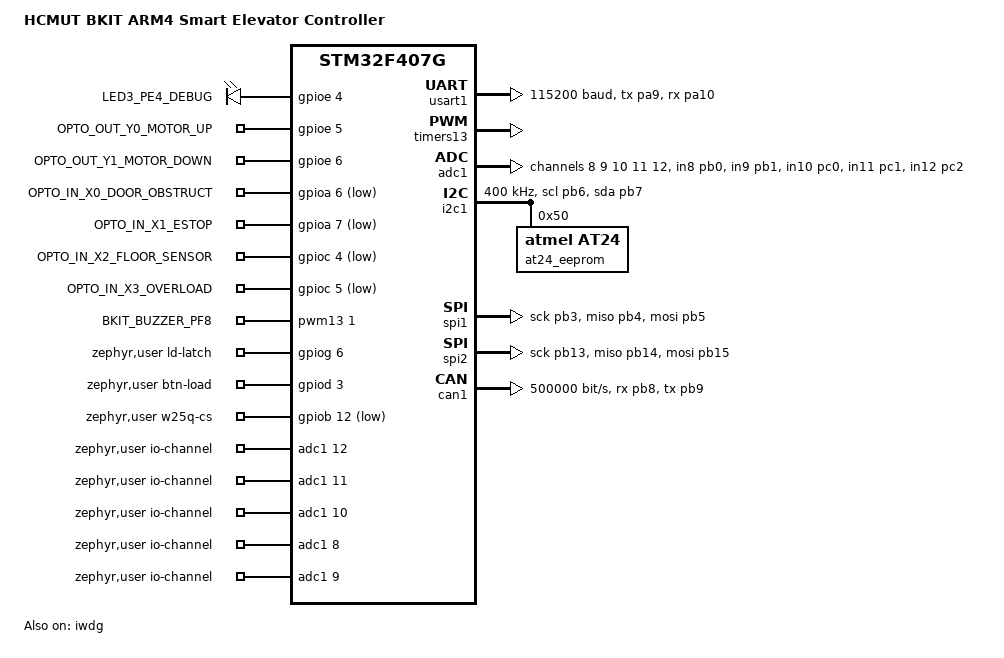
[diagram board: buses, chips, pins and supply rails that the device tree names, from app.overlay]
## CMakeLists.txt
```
# SPDX-License-Identifier: Apache-2.0
cmake_minimum_required(VERSION 3.20.0)

find_package(Zephyr REQUIRED HINTS $ENV{ZEPHYR_BASE})
project(smart_elevator_bkit_arm4 LANGUAGES C)

target_include_directories(app PRIVATE
    ${CMAKE_CURRENT_SOURCE_DIR}/include
)

target_sources(app PRIVATE
    src/main.c

    # Board Support Package (Per-peripheral BKIT ARM4 drivers)
    src/bsp/bsp_gpio_exti.c
    src/bsp/bsp_pwm_buzzer.c
    src/bsp/bsp_adc_sensors.c
    src/bsp/bsp_spi_hmi.c
    src/bsp/bsp_i2c_storage.c
    src/bsp/bsp_watchdog.c
    src/bsp/bsp_tft_lcd.c

    # Core Safety Control & Scheduling Logic
    src/core/elevator_scheduler.c
    src/core/elevator_hsm.c

    # Distributed Communications & HIL Digital Twin Stream
    src/comms/can_bus.c
    src/comms/twin_telemetry.c

    # Interactive Zephyr Shell Commands
    src/cli/cli_elev.c
    src/cli/cli_bkit_test.c
)
```

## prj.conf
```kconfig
# ==============================================================================
# BKIT ARM4 (STM32F407ZGT6 on stm32f4_disco base) - Smart Elevator Firmware
# Zephyr RTOS v4.4.0
# ==============================================================================

# --- Core Kernel, Static Multithreading & Priority Inheritance ---
CONFIG_MAIN_STACK_SIZE=2048
CONFIG_SYSTEM_WORKQUEUE_STACK_SIZE=2048
CONFIG_THREAD_NAME=y
CONFIG_THREAD_MONITOR=y
CONFIG_INIT_STACKS=y
CONFIG_THREAD_STACK_INFO=y
CONFIG_THREAD_RUNTIME_STATS=y
CONFIG_THREAD_ANALYZER=y
CONFIG_THREAD_ANALYZER_USE_PRINTK=y
CONFIG_TIMING_FUNCTIONS=y
CONFIG_REBOOT=y

# --- Serial Console & Interactive Shell over USART1 (PA9/PA10 RS232) ---
CONFIG_SERIAL=y
CONFIG_CONSOLE=y
CONFIG_UART_CONSOLE=y
CONFIG_PRINTK=y
CONFIG_CBPRINTF_FP_SUPPORT=y
CONFIG_SHELL=y
CONFIG_SHELL_BACKEND_SERIAL=y
CONFIG_SHELL_PROMPT_UART="bkit-elev:~$ "
CONFIG_SHELL_STACK_SIZE=3072
CONFIG_KERNEL_SHELL=y
CONFIG_DEVICE_SHELL=y
CONFIG_STATS=y
CONFIG_STATS_SHELL=y

# --- Logging (kept lean so RS232 shell + $TWIN packets stay clean) ---
CONFIG_LOG=y
CONFIG_LOG_MODE_DEFERRED=y
CONFIG_LOG_DEFAULT_LEVEL=3
CONFIG_LOG_CMDS=y

# --- Onboard Hardware Peripherals ---
# GPIO (LED3 PE4, Y0/Y1 PE5/PE6, Opto X0..X3 PA6/PA7/PC4/PC5, SPI latches PD3/PG6)
CONFIG_GPIO=y

# PWM Buzzer (PF8 TIM13_CH1)
CONFIG_PWM=y

# ADC1 (PC2 LM35, PC1 Potentiometer, PC0 Light, PB0 Voltage, PB1 Current)
CONFIG_ADC=y

# Shared SPI1 (PB3/4/5 -> 74HC595 Display + Keypad) & SPI2 (PB12..15 -> W25Q64)
CONFIG_SPI=y

# Shared I2C1 (PB6/PB7 -> DS3231 RTC via I2C regs + AT24C512 EEPROM driver)
CONFIG_I2C=y
CONFIG_EEPROM=y

# CAN1 (PB8/PB9 -> TJA1050 500 kbps), RTR support & EEPROM Integrity CRC
CONFIG_CAN=y
CONFIG_CAN_INIT_PRIORITY=80
CONFIG_CAN_MANUAL_RECOVERY_MODE=y
CONFIG_CAN_ACCEPT_RTR=y
CONFIG_CRC=y

# Independent Watchdog (IWDG) & Hardware Info (Reset cause / MCU UID)
CONFIG_WATCHDOG=y
CONFIG_WDT_DISABLE_AT_BOOT=n
CONFIG_HWINFO=y

# Output artifacts
CONFIG_BUILD_OUTPUT_HEX=y
CONFIG_BUILD_OUTPUT_BIN=y
```

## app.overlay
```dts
/*
 * Devicetree Overlay for HCMUT BKIT ARM4 (STM32F407ZGT6)
 * Base board target: stm32f4_disco
 * Pinout verified strictly against KitThiNghiem_STM32_ARM4_QuickStartGuide_20231027_1027.pdf
 */

#include <zephyr/dt-bindings/adc/adc.h>
#include <zephyr/dt-bindings/pwm/pwm.h>
#include <zephyr/dt-bindings/pinctrl/stm32-pinctrl.h>

/ {
	model = "HCMUT BKIT ARM4 Smart Elevator Controller";
	compatible = "st,stm32f407g-disc1";

	chosen {
		zephyr,console = &usart1;
		zephyr,shell-uart = &usart1;
		zephyr,canbus = &can1;
	};

	aliases {
		/delete-property/ led3;
		led0 = &bkit_led_debug;
		led1 = &bkit_out_y0;
		led2 = &bkit_out_y1;
		sw0 = &bkit_in_x0;
		sw1 = &bkit_in_x1;
		sw2 = &bkit_in_x2;
		sw3 = &bkit_in_x3;
		watchdog0 = &iwdg;
		eeprom-0 = &at24_eeprom;
		pwm-buzzer = &bkit_buzzer;
	};

	bkit_outputs {
		compatible = "gpio-leds";

		bkit_led_debug: led_pe4 {
			gpios = <&gpioe 4 GPIO_ACTIVE_HIGH>;
			label = "LED3_PE4_DEBUG";
		};

		bkit_out_y0: out_y0_pe5 {
			gpios = <&gpioe 5 GPIO_ACTIVE_HIGH>;
			label = "OPTO_OUT_Y0_MOTOR_UP";
		};

		bkit_out_y1: out_y1_pe6 {
			gpios = <&gpioe 6 GPIO_ACTIVE_HIGH>;
			label = "OPTO_OUT_Y1_MOTOR_DOWN";
		};
	};

	bkit_inputs {
		compatible = "gpio-keys";

		bkit_in_x0: in_x0_pa6 {
			gpios = <&gpioa 6 (GPIO_PULL_UP | GPIO_ACTIVE_LOW)>;
			label = "OPTO_IN_X0_DOOR_OBSTRUCT";
		};

		bkit_in_x1: in_x1_pa7 {
			gpios = <&gpioa 7 (GPIO_PULL_UP | GPIO_ACTIVE_LOW)>;
			label = "OPTO_IN_X1_ESTOP";
		};

		bkit_in_x2: in_x2_pc4 {
			gpios = <&gpioc 4 (GPIO_PULL_UP | GPIO_ACTIVE_LOW)>;
			label = "OPTO_IN_X2_FLOOR_SENSOR";
		};

		bkit_in_x3: in_x3_pc5 {
			gpios = <&gpioc 5 (GPIO_PULL_UP | GPIO_ACTIVE_LOW)>;
			label = "OPTO_IN_X3_OVERLOAD";
		};
	};

	bkit_pwmleds {
		status = "okay";
		compatible = "pwm-leds";

		bkit_buzzer: buzzer_pf8 {
			pwms = <&pwm13 1 PWM_HZ(2000) PWM_POLARITY_NORMAL>;
			label = "BKIT_BUZZER_PF8";
		};
	};

	/* Disable conflicting stm32f4_disco board-level LEDs & user button */
	leds {
		status = "disabled";
	};

	gpio_keys {
		status = "disabled";
	};

	zephyr,user {
		io-channels = <&adc1 12>, /* PC2: LM35 temperature sensor */
			      <&adc1 11>, /* PC1: Potentiometer (load/temp sim) */
			      <&adc1 10>, /* PC0: Light sensor */
			      <&adc1 8>,  /* PB0: Bus voltage monitor */
			      <&adc1 9>;  /* PB1: Motor current monitor */
		ld-latch-gpios = <&gpiog 6 GPIO_ACTIVE_HIGH>;
		btn-load-gpios = <&gpiod 3 GPIO_ACTIVE_HIGH>;
		w25q-cs-gpios  = <&gpiob 12 GPIO_ACTIVE_LOW>;
	};
};

/* --- Disable conflicting stm32f4_disco onboard devices --- */
&pwmleds {
	status = "disabled";
};

&usart2 {
	status = "disabled";
};

&can2 {
	status = "disabled";
};

&i2s3 {
	status = "disabled";
};

&usbotg_fs {
	status = "disabled";
};

&timers2 {
	status = "disabled";
};

&timers4 {
	status = "disabled";
};

/* --- Enable GPIO ports F & G used on STM32F407ZGT6 LQFP144 --- */
&gpiof {
	status = "okay";
};

&gpiog {
	status = "okay";
};

/* --- Add PF8 TIM13_CH1 pinctrl missing from LQFP100 discovery base --- */
&pinctrl {
	tim13_ch1_pf8: tim13_ch1_pf8 {
		pinmux = <STM32_PINMUX('F', 8, AF9)>;
	};
};

/* --- RS232 DB9 Shell & Digital Twin Telemetry (PA9/PA10) --- */
&usart1 {
	pinctrl-0 = <&usart1_tx_pa9 &usart1_rx_pa10>;
	pinctrl-names = "default";
	current-speed = <115200>;
	status = "okay";
};

/* --- Buzzer PWM (PF8 -> TIM13_CH1) --- */
&timers13 {
	status = "okay";
	st,prescaler = <83>;

	pwm13: pwm {
		status = "okay";
		pinctrl-0 = <&tim13_ch1_pf8>;
		pinctrl-names = "default";
	};
};

/* --- ADC1 Sensors (override PA6 away from stm32f4_disco default!) --- */
&adc1 {
	pinctrl-0 = <&adc1_in8_pb0 &adc1_in9_pb1
		     &adc1_in10_pc0 &adc1_in11_pc1 &adc1_in12_pc2>;
	pinctrl-names = "default";
	st,adc-clock-source = "SYNC";
	st,adc-prescaler = <4>;
	#address-cells = <1>;
	#size-cells = <0>;
	status = "okay";

	channel@8 {
		reg = <8>;
		zephyr,gain = "ADC_GAIN_1";
		zephyr,reference = "ADC_REF_INTERNAL";
		zephyr,acquisition-time = <ADC_ACQ_TIME_DEFAULT>;
		zephyr,resolution = <12>;
	};

	channel@9 {
		reg = <9>;
		zephyr,gain = "ADC_GAIN_1";
		zephyr,reference = "ADC_REF_INTERNAL";
		zephyr,acquisition-time = <ADC_ACQ_TIME_DEFAULT>;
		zephyr,resolution = <12>;
	};

	channel@a {
		reg = <10>;
		zephyr,gain = "ADC_GAIN_1";
		zephyr,reference = "ADC_REF_INTERNAL";
		zephyr,acquisition-time = <ADC_ACQ_TIME_DEFAULT>;
		zephyr,resolution = <12>;
	};

	channel@b {
		reg = <11>;
		zephyr,gain = "ADC_GAIN_1";
		zephyr,reference = "ADC_REF_INTERNAL";
		zephyr,acquisition-time = <ADC_ACQ_TIME_DEFAULT>;
		zephyr,resolution = <12>;
	};

	channel@c {
		reg = <12>;
		zephyr,gain = "ADC_GAIN_1";
		zephyr,reference = "ADC_REF_INTERNAL";
		zephyr,acquisition-time = <ADC_ACQ_TIME_DEFAULT>;
		zephyr,resolution = <12>;
	};
};

/* --- Shared I2C1 (PB6/PB7): DS3231 RTC + AT24C512 EEPROM --- */
&audio_codec {
	status = "disabled";
};

&i2c1 {
	pinctrl-0 = <&i2c1_scl_pb6 &i2c1_sda_pb7>;
	pinctrl-names = "default";
	clock-frequency = <I2C_BITRATE_FAST>;
	status = "okay";

	at24_eeprom: eeprom@50 {
		compatible = "atmel,at24";
		reg = <0x50>;
		size = <65536>;
		pagesize = <128>;
		address-width = <16>;
		timeout = <5>;
		status = "okay";
	};
};

/* --- Shared SPI1 (PB3/PB4/PB5): 7-Segment Clock LED & 4x4 Keypad --- */
&spi1 {
	pinctrl-0 = <&spi1_sck_pb3 &spi1_miso_pb4 &spi1_mosi_pb5>;
	pinctrl-names = "default";
	status = "okay";
};

/* --- SPI2 (PB13/PB14/PB15 + PB12 CS): Onboard W25Q64FV Flash --- */
&spi2 {
	pinctrl-0 = <&spi2_sck_pb13 &spi2_miso_pb14 &spi2_mosi_pb15>;
	pinctrl-names = "default";
	status = "okay";
};

/* --- CAN1 Bus 500 kbps (PB8/PB9 via TJA1050, requires SW13=ON) --- */
&can1 {
	pinctrl-0 = <&can1_rx_pb8 &can1_tx_pb9>;
	pinctrl-names = "default";
	bitrate = <500000>;
	sample-point = <875>;
	status = "okay";
};

/* --- Independent Hardware Watchdog --- */
&iwdg {
	status = "okay";
};
```

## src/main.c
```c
/**
 * @file main.c
 * @brief Điểm vào chính và Bộ điều phối 7 luồng RTOS tĩnh hướng sự kiện (BKIT ARM4 Smart Elevator).
 *
 * Chức năng tổng quát của file:
 *  - Khởi tạo toàn bộ trình điều khiển phần cứng (Watchdog, GPIO/EXTI, PWM, ADC, SPI1/2, I2C1, CAN1, TFT-LCD FSMC)
 *    và máy trạng thái trung tâm HSM.
 *  - Định nghĩa 7 luồng RTOS tĩnh (`K_THREAD_DEFINE`) và các bộ định thời (`k_timer`) điều phối toàn hệ thống.
 *  - Tự động hiệu chuẩn mức nền ánh sáng phòng cho cảm biến rèm quang LDR (`PC0`) lúc khởi động để chống
 *    báo giả trong phòng tối, đồng thời kích hoạt mở cửa ngược dưới 50 ms khi tay che rèm quang.
 *
 * SPDX-License-Identifier: Apache-2.0
 */

#include <stdlib.h>
#include <soc.h>
#include <zephyr/kernel.h>
#include <zephyr/logging/log.h>
#include <zephyr/sys/printk.h>
#include <zephyr/version.h>

#include "bsp_adc_sensors.h"
#include "bsp_gpio_exti.h"
#include "bsp_i2c_storage.h"
#include "bsp_pwm_buzzer.h"
#include "bsp_spi_hmi.h"
#include "bsp_tft_lcd.h"
#include "bsp_watchdog.h"
#include "can_bus.h"
#include "elevator_hsm.h"
#include "elevator_types.h"
#include "twin_telemetry.h"

LOG_MODULE_REGISTER(app_main, LOG_LEVEL_INF);

/** @brief Cờ kiểm thử HIL (`bkit test wdt_hang`) để tạm ngừng nạp IWDG có chủ đích. */
volatile bool g_wdt_freeze_test;

/** @brief Trạng thái rèm quang LDR (PC0) sau khi đã hiệu chuẩn nền ánh sáng môi trường. */
static volatile bool g_ldr_curtain_blocked;

K_SEM_DEFINE(g_safety_wakeup_sem, 0, 1);
K_SEM_DEFINE(g_hmi_sem, 0, 1);
K_SEM_DEFINE(g_wdt_sem, 0, 1);

static void safety_timer_isr(struct k_timer *timer)
{
	ARG_UNUSED(timer);
	k_sem_give(&g_safety_wakeup_sem);
}

static void hmi_timer_isr(struct k_timer *timer)
{
	ARG_UNUSED(timer);
	k_sem_give(&g_hmi_sem);
}

static void wdt_timer_isr(struct k_timer *timer)
{
	ARG_UNUSED(timer);
	k_sem_give(&g_wdt_sem);
}

K_TIMER_DEFINE(g_safety_timer, safety_timer_isr, NULL);
K_TIMER_DEFINE(g_hmi_timer, hmi_timer_isr, NULL);
K_TIMER_DEFINE(g_wdt_timer, wdt_timer_isr, NULL);

static void on_hw_exti_event(elevator_ev_type_t ev_type, uint32_t isr_cycles)
{
	elevator_event_t ev = {
		.type = ev_type,
		.isr_cycles = isr_cycles,
	};
	(void)elevator_hsm_post_event(&ev);
	k_sem_give(&g_safety_wakeup_sem);
}

/* ============================================================================
 * T1: Luồng An toàn ưu tiên cao & Đọc cảm biến Analog 50 ms (Priority 2)
 * ============================================================================ */
static void safety_thread_entry(void *p1, void *p2, void *p3)
{
	ARG_UNUSED(p1);
	ARG_UNUSED(p2);
	ARG_UNUSED(p3);

	bool prev_overheat = false;
	bool prev_overload = false;

	/* Bộ hiệu chuẩn nền tự động cho quang trở LDR (PC0) tránh báo giả khi phòng tối/sáng khác nhau */
	int32_t ldr_baseline_mv = -1;
	uint8_t ldr_init_cnt = 0U;
	int32_t ldr_accum_mv = 0;
	uint32_t ldr_blocked_ticks = 0U;
	bool prev_curtain_trig = false;
	uint32_t last_curtain_hold_ms = 0U;

	while (1) {
		(void)k_sem_take(&g_safety_wakeup_sem, K_FOREVER);
		bsp_wdt_checkin(WDT_MON_SAFETY);

		if (can_bus_get_role() != NODE_ROLE_CABIN) {
			continue;
		}

		elevator_telemetry_t tel;
		elevator_hsm_get_telemetry(&tel);

		/* Đồng bộ trạng thái trễ với cờ thực tế của HSM (phòng trường hợp vừa bấm Xóa lỗi / Tiêm lỗi) */
		prev_overheat = tel.fire_active;
		prev_overload = tel.overload_active;

		bkit_adc_snapshot_t adc = { 0 };
		bool adc_ok = (bsp_adc_read_all(&adc) == 0 && adc.raw_ok);

		/* 1. Giám sát nhiệt độ giếng thang LM35 (PC2) có trễ Hysteresis (>= 55.0 C bật, <= 48.0 C tắt) */
		if (adc_ok) {
			if (!prev_overheat && adc.temp_deci_c >= ELEV_TEMP_FIRE_THRESH_DC) {
				prev_overheat = true;
				elevator_event_t ev = {
					.type = EV_OVERHEAT_TEMP,
					.param = (uint32_t)adc.temp_deci_c,
				};
				(void)elevator_hsm_post_event(&ev);
				(void)can_bus_send_emergency(1U, 0U);
			} else if (prev_overheat && adc.temp_deci_c <= ELEV_TEMP_CLEAR_THRESH_DC) {
				prev_overheat = false;
				elevator_event_t ev = { .type = EV_TEMP_NORMAL };
				(void)elevator_hsm_post_event(&ev);
			}
		}

		/* 2. Giám sát quá tải cabin VR1 (PC1) & Opto X3 (PC5) có trễ Hysteresis (>= 800 kg / <= 750 kg) */
		bool x0 = false, x1 = false, x2 = false, x3 = false;
		bsp_gpio_read_inputs(&x0, &x1, &x2, &x3);

		if (!prev_overload) {
			bool over_set = (adc_ok && adc.load_kg >= ELEV_LOAD_OVERLOAD_KG) || x3;
			if (over_set) {
				prev_overload = true;
				elevator_event_t ev = {
					.type = EV_OVERLOAD_SET,
					.param = adc.load_kg,
				};
				(void)elevator_hsm_post_event(&ev);
			}
		} else {
			bool over_clear = (!x3) && (!adc_ok || adc.load_kg <= ELEV_LOAD_CLEAR_KG);
			if (over_clear) {
				prev_overload = false;
				elevator_event_t ev = { .type = EV_OVERLOAD_CLEAR };
				(void)elevator_hsm_post_event(&ev);
			}
		}

		/* 3. Giám sát Rèm quang chống kẹp cửa LDR (PC0) tự hiệu chuẩn nền môi trường (< 50 ms) */
		if (adc_ok) {
			int32_t cur_mv = (int32_t)adc.light_mv;
			if (ldr_baseline_mv < 0) {
				ldr_accum_mv += cur_mv;
				ldr_init_cnt++;
				if (ldr_init_cnt >= 4U) {
					ldr_baseline_mv = ldr_accum_mv / 4;
				}
			} else {
				int32_t diff = abs(cur_mv - ldr_baseline_mv);
				if (!g_ldr_curtain_blocked) {
					if (diff >= 380) {
						g_ldr_curtain_blocked = true;
						ldr_blocked_ticks = 0U;
					} else if (diff < 120) {
						/* Bám chậm theo độ trôi ánh sáng tự nhiên của phòng */
						ldr_baseline_mv = (ldr_baseline_mv * 31 + cur_mv) / 32;
					}
				} else {
					ldr_blocked_ticks++;
					if (diff <= 220) {
						g_ldr_curtain_blocked = false;
						ldr_blocked_ticks = 0U;
					} else if (ldr_blocked_ticks >= 160U) {
						/* Nếu môi trường đổi độ sáng cố định > 8 giây -> cập nhật lại nền mới */
						ldr_baseline_mv = cur_mv;
						g_ldr_curtain_blocked = false;
						ldr_blocked_ticks = 0U;
					}
				}
			}

			/*
			 * Chống lặp tiếng còi: Chỉ phát sự kiện cạnh lên (param=0) 1 lần duy nhất khi mới che LDR/X0;
			 * nếu vẫn giữ tay chắn cửa thì mỗi 800 ms gửi gói duy trì im lặng (param=2) để giữ cửa mở.
			 */
			bool curtain_active = (g_ldr_curtain_blocked || x0);
			uint32_t now_curtain = k_uptime_get_32();
			if (curtain_active &&
			    (tel.state == HSM_STATE_DOOR_CLOSING ||
			     tel.state == HSM_STATE_DOOR_OPEN ||
			     tel.state == HSM_STATE_DOOR_OPENING)) {
				if (!prev_curtain_trig || tel.state == HSM_STATE_DOOR_CLOSING) {
					elevator_event_t ev = {
						.type = EV_DOOR_OBSTRUCT_EXTI,
						.isr_cycles = k_cycle_get_32(),
						.param = prev_curtain_trig ? 2U : 0U,
					};
					(void)elevator_hsm_post_event(&ev);
					last_curtain_hold_ms = now_curtain;
				} else if ((now_curtain - last_curtain_hold_ms) >= 800U) {
					elevator_event_t ev = {
						.type = EV_DOOR_OBSTRUCT_EXTI,
						.param = 2U,
					};
					(void)elevator_hsm_post_event(&ev);
					last_curtain_hold_ms = now_curtain;
				}
			}
			prev_curtain_trig = curtain_active;
		}
	}
}

/* ============================================================================
 * T2: Luồng Điều khiển Máy trạng thái HSM & Lập lịch SCAN/LOOK (Priority 3)
 * ============================================================================ */
static void fsm_thread_entry(void *p1, void *p2, void *p3)
{
	ARG_UNUSED(p1);
	ARG_UNUSED(p2);
	ARG_UNUSED(p3);

	while (1) {
		bsp_wdt_checkin(WDT_MON_FSM);
		elevator_hsm_step();
	}
}

/* ============================================================================
 * T3a/b/c: Nhóm 3 luồng Truyền thông CAN1 hướng sự kiện (RX / TX / Partner Watchdog)
 * ============================================================================ */
static void can_rx_thread_entry(void *p1, void *p2, void *p3)
{
	ARG_UNUSED(p1);
	ARG_UNUSED(p2);
	ARG_UNUSED(p3);

	while (1) {
		can_bus_rx_step();
	}
}

static void can_tx_thread_entry(void *p1, void *p2, void *p3)
{
	ARG_UNUSED(p1);
	ARG_UNUSED(p2);
	ARG_UNUSED(p3);

	while (1) {
		elevator_telemetry_t tel;
		elevator_hsm_get_telemetry(&tel);
		bsp_wdt_checkin(WDT_MON_CAN);
		can_bus_tx_and_recover_step(&tel);
	}
}

static void can_wdt_thread_entry(void *p1, void *p2, void *p3)
{
	ARG_UNUSED(p1);
	ARG_UNUSED(p2);
	ARG_UNUSED(p3);

	while (1) {
		can_bus_partner_watchdog_step();
	}
}

/* ============================================================================
 * T4: Luồng Giao diện HMI (LED 7 đoạn + TFT-LCD + Bàn phím 4x4 + Còi PWM + LED3) (Priority 5)
 * ============================================================================ */
static void hmi_thread_entry(void *p1, void *p2, void *p3)
{
	ARG_UNUSED(p1);
	ARG_UNUSED(p2);
	ARG_UNUSED(p3);

	uint32_t tick_div = 0U;
	int prev_stable_key = -1;
	int candidate_key = -1;

	while (1) {
		(void)k_sem_take(&g_hmi_sem, K_FOREVER);
		bsp_wdt_checkin(WDT_MON_HMI);

		bsp_pwm_buzzer_tick();

		elevator_telemetry_t tel;
		elevator_hsm_get_telemetry(&tel);

		node_role_t role = can_bus_get_role();
		uint8_t disp_floor = tel.current_floor;
		elevator_dir_t disp_dir = (elevator_dir_t)tel.direction;
		door_pos_t disp_door_pos = (door_pos_t)tel.door_pos;
		bool disp_overload = tel.overload_active;
		bool disp_fire = tel.fire_active;
		bool disp_fault = tel.estop_active || tel.can_fault_active;

		bool x0_now = false;
		bsp_gpio_read_inputs(&x0_now, NULL, NULL, NULL);
		bool disp_obstruct = (role == NODE_ROLE_CABIN) &&
				     (x0_now || g_ldr_curtain_blocked ||
				      elevator_hsm_is_obstruct_recent(ELEV_OBSTRUCT_ALERT_MS)) &&
				     (tel.state == HSM_STATE_DOOR_OPENING ||
				      tel.state == HSM_STATE_DOOR_OPEN ||
				      tel.state == HSM_STATE_DOOR_CLOSING);

		if (role == NODE_ROLE_HALL) {
			uint8_t rem_floor = 1U;
			elevator_dir_t rem_dir = ELEV_DIR_IDLE;
			bool rem_fire = false;
			bool rem_fault = false;

			if (can_bus_get_remote_cabin_view(&rem_floor, &rem_dir, &rem_fire, &rem_fault)) {
				disp_floor = rem_floor;
				disp_dir = rem_dir;
				disp_door_pos = DOOR_POS_CLOSED;
				disp_overload = false;
				disp_fire = rem_fire;
				disp_fault = rem_fault || tel.can_fault_active;
			}
		}

		/* Cập nhật nội dung bộ đệm 4 LED 7 đoạn mỗi 20 ms (quét phần cứng chạy riêng ở 500 Hz) */
		if ((tick_div % 2U) == 0U) {
			(void)bsp_spi_7seg_render_status(disp_floor, disp_dir, disp_door_pos,
							 disp_obstruct, disp_overload, disp_fire, disp_fault);
		}

		/* Cập nhật Màn hình màu TFT-LCD 240x320 (ILI9341 - FSMC 16-bit) mỗi 100 ms */
		if ((tick_div % 10U) == 0U) {
			bkit_adc_snapshot_t adc_snap = { 0 };
			(void)bsp_adc_read_all(&adc_snap);
			float load_kg = (float)adc_snap.load_kg;
			float temp_c = (float)adc_snap.temp_deci_c / 10.0f;
			uint8_t call_mask = tel.cabin_mask | tel.hall_up_mask | tel.hall_down_mask;

			bsp_tft_lcd_render_dashboard(&tel, call_mask, tel.door_pct,
						     load_kg, temp_c, disp_obstruct,
						     elevator_state_str((elevator_state_t)tel.state));
		}

		/* Nháy nhanh LED PE4 (chu kỳ 200 ms) khi có cháy/lỗi/quá tải, hoặc nháy chậm 800 ms khi bình thường */
		uint32_t blink_period = (disp_fire || disp_fault || disp_overload) ? 10U : 40U;
		if ((tick_div % blink_period) == 0U) {
			bsp_gpio_set_led_debug(((tick_div / blink_period) & 1U) == 0U);
		}

		/*
		 * Quét ma trận phím 4x4 (16 phím: key 0..15) qua SPI1 kèm lọc chống dội 2 mẫu liên tiếp,
		 * ánh xạ ĐÚNG 100% theo chữ in lụa (Silkscreen) trên mặt bo mạch BKIT ARM4 thật:
		 *   Hàng 0: [1](0)->Tầng 1 | [2](1)->Tầng 2 | [3](2)->Tầng 3 | [▲](3)->Mở cửa nhanh
		 *   Hàng 1: [4](4)->Tầng 4 | [5](5)->Tầng 5 | [6](6)->Tầng 6 | [▼](7)->Đóng cửa nhanh
		 *   Hàng 2: [7](8)->Tầng 7 | [8](9)->Kẹt cửa | [9](10)->Báo cháy | [▶](11)->E-Stop
		 *   Hàng 3: [E](12), [0](13), [B](14), [◀](15) -> Giải trừ lỗi / Khôi phục vận hành
		 */
		if ((tick_div % 3U) == 0U) {
			static const int8_t k_key_to_floor[16] = {
				1,  2,  3, -1, /* Hàng 0: [1], [2], [3], [▲] */
				4,  5,  6, -1, /* Hàng 1: [4], [5], [6], [▼] */
				7, -1, -1, -1, /* Hàng 2: [7], [8], [9], [▶] */
			       -1, -1, -1, -1  /* Hàng 3: [E], [0], [B], [◀] */
			};
			int raw_key = -1;
			if (bsp_spi_keypad_scan(&raw_key, NULL) == 0) {
				if (raw_key == candidate_key) {
					if (raw_key >= 0 && raw_key < 16 && raw_key != prev_stable_key) {
						int8_t mapped_floor = k_key_to_floor[raw_key];
						LOG_INF("Keypad 4x4 pressed: key_idx=%d (floor=%d)",
							raw_key, mapped_floor);
						if (mapped_floor >= ELEV_MIN_FLOOR &&
						    mapped_floor <= ELEV_MAX_FLOOR) {
							uint8_t floor = (uint8_t)mapped_floor;
							bsp_pwm_buzzer_beep(2400U, 35U);
							if (role == NODE_ROLE_HALL) {
								bool going_up = (floor < ELEV_MAX_FLOOR);
								(void)can_bus_send_hall_call(floor, going_up);
							} else {
								elevator_event_t ev = {
									.type = EV_CALL_CABIN,
									.floor = floor,
								};
								(void)elevator_hsm_post_event(&ev);
							}
						} else if (raw_key == 3) { /* Nút [▲]: Mở cửa nhanh */
							bsp_pwm_buzzer_beep(2200U, 40U);
							elevator_event_t ev = { .type = EV_CMD_OPEN_DOOR };
							(void)elevator_hsm_post_event(&ev);
						} else if (raw_key == 7) { /* Nút [▼]: Đóng cửa nhanh */
							bsp_pwm_buzzer_beep(1800U, 40U);
							elevator_event_t ev = { .type = EV_CMD_CLOSE_DOOR };
							(void)elevator_hsm_post_event(&ev);
						} else if (raw_key == 9) { /* Nút [8]: Giả lập Kẹt cửa */
							elevator_event_t ev = {
								.type = EV_DOOR_OBSTRUCT_EXTI,
								.isr_cycles = k_cycle_get_32(),
								.param = 1U,
							};
							(void)elevator_hsm_post_event(&ev);
						} else if (raw_key == 10) { /* Nút [9]: Giả lập Báo cháy 62°C */
							bsp_adc_set_hil_temp_override(620);
							elevator_event_t ev = {
								.type = EV_OVERHEAT_TEMP,
								.param = 620U,
							};
							(void)elevator_hsm_post_event(&ev);
							(void)can_bus_send_emergency(1U, 0U);
						} else if (raw_key == 11) { /* Nút [▶]: Dừng khẩn cấp E-Stop */
							bsp_gpio_set_motor_outputs(false, false);
							elevator_event_t ev = {
								.type = EV_ESTOP_EXTI,
								.isr_cycles = k_cycle_get_32(),
							};
							(void)elevator_hsm_post_event(&ev);
						} else { /* Hàng 3 [E], [0], [B], [◀]: Xóa lỗi */
							bsp_pwm_buzzer_beep(2600U, 45U);
							can_bus_set_hil_drop(false);
							bsp_adc_clear_hil_overrides();
							elevator_event_t ev = { .type = EV_CLEAR_FAULT };
							(void)elevator_hsm_post_event(&ev);
						}
					}
					prev_stable_key = raw_key;
				} else {
					candidate_key = raw_key;
				}
			}
		}

		tick_div++;
	}
}

/* ============================================================================
 * T5: Luồng giám sát IWDG đa luồng & Xuất gói $TWIN JSON (Priority 8)
 * ============================================================================ */
static void telemetry_wdt_thread_entry(void *p1, void *p2, void *p3)
{
	ARG_UNUSED(p1);
	ARG_UNUSED(p2);
	ARG_UNUSED(p3);

	uint32_t loop_cnt = 0U;

	while (1) {
		(void)k_sem_take(&g_wdt_sem, K_FOREVER);

		(void)bsp_wdt_service(g_wdt_freeze_test);

		if (twin_telemetry_is_enabled() && (loop_cnt % 2U) == 0U) {
			twin_telemetry_emit_now();
		}

		loop_cnt++;
	}
}

/* Khởi tạo tĩnh toàn bộ 7 luồng RTOS với dung lượng Stack dư dả an toàn (< 45% tải đỉnh) */
K_THREAD_DEFINE(t1_safety,  2048, safety_thread_entry,        NULL, NULL, NULL, 2, 0, 500);
K_THREAD_DEFINE(t2_fsm,     2560, fsm_thread_entry,           NULL, NULL, NULL, 3, 0, 500);
K_THREAD_DEFINE(t3_can_rx,  1536, can_rx_thread_entry,        NULL, NULL, NULL, 4, 0, 500);
K_THREAD_DEFINE(t3_can_tx,  1536, can_tx_thread_entry,        NULL, NULL, NULL, 4, 0, 500);
K_THREAD_DEFINE(t3_can_wdt, 1024, can_wdt_thread_entry,       NULL, NULL, NULL, 4, 0, 500);
K_THREAD_DEFINE(t4_hmi,     4096, hmi_thread_entry,           NULL, NULL, NULL, 5, 0, 500);
K_THREAD_DEFINE(t5_wdt,     2048, telemetry_wdt_thread_entry, NULL, NULL, NULL, 8, 0, 500);

int main(void)
{
#if defined(CONFIG_SOC_SERIES_STM32F4X)
	/* Giữ xung nhịp SWD hoạt động ngay cả khi Zephyr vào WFI Sleep và dừng IWDG khi đang nạp code */
	DBGMCU->CR |= (DBGMCU_CR_DBG_SLEEP | DBGMCU_CR_DBG_STOP | DBGMCU_CR_DBG_STANDBY);
	DBGMCU->APB1FZ |= DBGMCU_APB1_FZ_DBG_IWDG_STOP;
#endif

	LOG_INF("Booting HCMUT BKIT ARM4 Smart Elevator Firmware (Zephyr %s)",
		KERNEL_VERSION_STRING);

	int err = bsp_watchdog_init();
	if (err < 0) {
		LOG_WRN("IWDG watchdog init returned %d (continuing without IWDG)", err);
	}

	err = bsp_gpio_exti_init(on_hw_exti_event);
	if (err < 0) {
		LOG_ERR("Critical GPIO/EXTI init failed (%d)", err);
		return err;
	}

	(void)bsp_pwm_buzzer_init();
	(void)bsp_adc_init();
	(void)bsp_spi_hmi_init();
	(void)bsp_tft_lcd_init();
	(void)bsp_i2c_storage_init();

	(void)elevator_hsm_init();
	(void)can_bus_init(CAN_LINK_MODE_LOOPBACK, NODE_ROLE_CABIN);

	if (bsp_wdt_was_reset_cause()) {
		LOG_WRN("Previous boot ended via IWDG Watchdog reset -> logging black-box entry");
		(void)bsp_blackbox_append(BB_FAULT_BOOT_WATCHDOG, HSM_STATE_INIT, 1U, 0);
	} else {
		(void)bsp_blackbox_append(BB_FAULT_BOOT_POR, HSM_STATE_IDLE_CLOSED, 1U, 0);
	}

	/* Làm mới mốc điểm danh cho cả 4 khe luồng sau khi khởi tạo xong LCD & EEPROM lúc boot */
	for (int i = 0; i < (int)WDT_MON_COUNT; i++) {
		bsp_wdt_checkin((wdt_mon_id_t)i);
	}

	/* Chạy giám sát an toàn mỗi 50 ms (< 50 ms đáp ứng rèm quang), HMI mỗi 10 ms và WDT/$TWIN mỗi 100 ms */
	k_timer_start(&g_safety_timer, K_MSEC(50), K_MSEC(50));
	k_timer_start(&g_hmi_timer, K_MSEC(10), K_MSEC(10));
	k_timer_start(&g_wdt_timer, K_MSEC(100), K_MSEC(100));

	bsp_pwm_buzzer_play_tone(BUZZER_TONE_BOOT);

	printk("\n====================================================\n");
	printk(" BKIT ARM4 Smart Elevator Ready (Type 'help' in Shell)\n");
	printk("====================================================\n");
	return 0;
}
```

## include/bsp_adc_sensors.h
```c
/**
 * @file bsp_adc_sensors.h
 * @brief Trình điều khiển ADC1 12-bit đọc đa kênh (Nhiệt độ, Tải trọng, Ánh sáng & Nguồn).
 *
 * Thứ tự kênh khai báo trong app.overlay (tránh xung đột PA6 của ngắt X0 EXTI):
 *  - Ch12 (PC2): Cảm biến nhiệt độ LM35 (10 mV/độ C -> 1 mV = 0.1 độ C)
 *  - Ch11 (PC1): Biến trở giả lập tải trọng cabin (quy đổi 0..1000 kg)
 *  - Ch10 (PC0): Cảm biến quang trở ánh sáng (mV)
 *  - Ch8  (PB0): Giám sát điện áp nguồn cấp (mV)
 *  - Ch9  (PB1): Giám sát dòng tải động cơ (mV)
 */

#ifndef BSP_ADC_SENSORS_H_
#define BSP_ADC_SENSORS_H_

#include "elevator_types.h"

/**
 * @brief Khởi tạo và hiệu chuẩn toàn bộ các kênh ADC1 khai báo qua Devicetree adc_dt.
 * @return 0 nếu có ít nhất 1 kênh sẵn sàng, mã lỗi âm errno nếu thất bại.
 */
int bsp_adc_init(void);

/**
 * @brief Lấy mẫu tuần tự cả 5 kênh ADC1 và quy đổi sang đơn vị kỹ thuật (0.1 độ C, kg, mV).
 * @param[out] out Con trỏ struct nhận ảnh chụp giá trị đo được từ các cảm biến.
 * @return 0 nếu đọc thành công, -EINVAL nếu con trỏ NULL, -EIO nếu toàn bộ kênh lỗi.
 */
int bsp_adc_read_all(bkit_adc_snapshot_t *out);

/**
 * @brief Ghi đè tải trọng cabin giả lập từ PC Digital Twin / Shell HIL (`< 0` để trả về đọc biến trở VR1 thật).
 *        Nếu người dùng xoay núm biến trở VR1 thật lệch >= 40 kg so với lúc bắt đầu ghi đè, hệ thống tự động trả quyền về VR1 thật.
 */
void bsp_adc_set_hil_load_override(int32_t load_kg);

/**
 * @brief Ghi đè nhiệt độ LM35 giả lập từ PC Digital Twin / Shell HIL (đơn vị 0.1 độ C; `< 0` để trả về cảm biến thật).
 */
void bsp_adc_set_hil_temp_override(int32_t temp_deci_c);

/**
 * @brief Xóa toàn bộ giá trị ghi đè cảm biến HIL, khôi phục đọc 100% từ ADC1 phần cứng.
 */
void bsp_adc_clear_hil_overrides(void);

#endif /* BSP_ADC_SENSORS_H_ */
```

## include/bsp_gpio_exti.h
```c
/**
 * @file bsp_gpio_exti.h
 * @brief Trình điều khiển GPIO cách ly quang, Khóa liên động Động cơ & Ngắt ngoài EXTI.
 *
 * Ánh xạ chân theo tài liệu BKIT ARM4 Quick Start Guide:
 *  - PE4 (LED3): LED Debug / nhịp sống Heartbeat của RTOS (Mức cao sáng)
 *  - PE5 (Y0)  : Ngõ ra cách ly quang điều khiển Motor CHẠY LÊN (Active High)
 *  - PE6 (Y1)  : Ngõ ra cách ly quang điều khiển Motor CHẠY XUỐNG (Active High)
 *  - PA6 (X0)  : Cảm biến kẹt cửa dùng ngắt EXTI (Active Low, kéo lên nội)
 *  - PA7 (X1)  : Nút Dừng khẩn cấp E-Stop dùng ngắt EXTI (Active Low, kéo lên nội)
 *  - PC4 (X2)  : Ngõ vào opto cảm biến tầng / bảo trì (Active Low)
 *  - PC5 (X3)  : Ngõ vào opto cảm biến quá tải cơ khí (Active Low)
 */

#ifndef BSP_GPIO_EXTI_H_
#define BSP_GPIO_EXTI_H_

#include <stdbool.h>
#include <stdint.h>
#include "elevator_types.h"

/**
 * @brief Kiểu hàm callback được gọi ngay trong ngữ cảnh ISR khi có sườn ngắt EXTI (PA6 / PA7).
 * @param ev         Loại sự kiện an toàn tương ứng (kẹt cửa hoặc E-Stop).
 * @param isr_cycles Giá trị bộ đếm chu kỳ CPU DWT chụp ngay đầu ngắt để đo độ trễ phản hồi.
 */
typedef void (*bsp_exti_cb_t)(elevator_ev_type_t ev, uint32_t isr_cycles);

/**
 * @brief Khởi tạo các chân xuất Y0/Y1/PE4, các ngõ vào X0..X3 và đăng ký ngắt ngoài EXTI.
 * @param exti_cb Hàm callback báo sự kiện về tầng RTOS (có thể truyền NULL nếu chỉ đọc polling).
 * @return 0 nếu thành công, mã lỗi âm errno nếu thiết bị GPIO chưa sẵn sàng.
 */
int bsp_gpio_exti_init(bsp_exti_cb_t exti_cb);

/**
 * @brief Bật hoặc tắt LED Debug Heartbeat gắn tại chân PE4.
 * @param on true để bật LED, false để tắt LED.
 */
void bsp_gpio_set_led_debug(bool on);

/**
 * @brief Điều khiển hai ngõ ra Motor LÊN (PE5) và Motor XUỐNG (PE6) kèm khóa liên động cứng.
 *
 * Đảm bảo bất biến an toàn ở tầng driver: nếu vì bất kỳ lỗi nào mà cả @p up_en và @p down_en
 * cùng bằng true, hàm lập tức cắt cả hai ngõ ra về 0 để chống ngắn mạch contactor/cầu H.
 *
 * @param up_en   Cho phép xuất tín hiệu chạy Lên trên chân Y0 (PE5).
 * @param down_en Cho phép xuất tín hiệu chạy Xuống trên chân Y1 (PE6).
 */
void bsp_gpio_set_motor_outputs(bool up_en, bool down_en);

/**
 * @brief Đọc trạng thái mức logic (đã kích hoạt = true) của 4 ngõ vào cách ly quang X0..X3.
 * @param[out] x0 Trạng thái cảm biến kẹt cửa (PA6), có thể NULL nếu bỏ qua.
 * @param[out] x1 Trạng thái nút E-Stop (PA7), có thể NULL.
 * @param[out] x2 Trạng thái cảm biến tầng / bảo trì (PC4), có thể NULL.
 * @param[out] x3 Trạng thái cảm biến quá tải cơ khí (PC5), có thể NULL.
 */
void bsp_gpio_read_inputs(bool *x0, bool *x1, bool *x2, bool *x3);

#endif /* BSP_GPIO_EXTI_H_ */
```

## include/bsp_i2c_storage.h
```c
/**
 * @file bsp_i2c_storage.h
 * @brief Trình điều khiển bus I2C1 dùng chung (PB6/PB7) cho đồng hồ DS3231 và
 * hộp đen AT24C512.
 *
 * Mọi giao dịch trên I2C1 đều được tuần tự hóa qua @c g_i2c1_bus_mutex (có kế
 * thừa độ ưu tiên) nhằm tránh xung đột giữa Shell, thao tác ghi hộp đen của FSM
 * và tác vụ đọc RTC.
 */

#ifndef BSP_I2C_STORAGE_H_
#define BSP_I2C_STORAGE_H_

#include "elevator_types.h"
#include <stddef.h>
#include <stdint.h>

/**
 * @brief Kiểm tra trạng thái sẵn sàng của bus I2C1 và chip EEPROM AT24C512.
 * @return 0 ngay cả khi chip ngoại vi chưa gắn trên bo (chỉ ghi cảnh báo
 * LOG_WRN).
 */
int bsp_i2c_storage_init(void);

/**
 * @brief Quét toàn bộ dải địa chỉ 7-bit trên I2C1 (0x03..0x77) và in các thiết
 * bị có phản hồi ACK.
 * @param print_cb Hàm callback xuất chuỗi định dạng (ví dụ in ra Zephyr Shell).
 */
void bsp_i2c_scan_bus(void (*print_cb)(const char *fmt, ...));

/**
 * @brief Đọc ngày giờ hiện tại từ các thanh ghi 0x00..0x06 của DS3231 qua bus
 * I2C1.
 * @return 0 nếu đọc thành công, mã lỗi âm errno nếu thiết bị không trả lời
 * (NACK).
 */
int bsp_rtc_get_datetime(uint16_t *year, uint8_t *month, uint8_t *day,
                         uint8_t *hour, uint8_t *min, uint8_t *sec);

/**
 * @brief Cài đặt ngày giờ mới xuống các thanh ghi của DS3231 qua I2C1 (mã hóa
 * BCD).
 * @return 0 nếu ghi thành công, -EINVAL nếu giá trị thời gian truyền vào không
 * hợp lệ.
 */
int bsp_rtc_set_datetime(uint16_t year, uint8_t month, uint8_t day,
                         uint8_t hour, uint8_t min, uint8_t sec);

/**
 * @brief Ghi nối tiếp một bản ghi sự cố có dấu thời gian RTC và mã CRC16 vào
 * AT24C512.
 *
 * Tổ chức theo bộ đệm vòng 32 bản ghi từ địa chỉ 0x0080 (căn lề trang 128 byte
 * của EEPROM), đi kèm header có kiểm tra toàn vẹn CRC32 tại địa chỉ 0x0000.
 *
 * @param code        Mã lỗi hoặc lý do khởi động.
 * @param state       Trạng thái HSM tại thời điểm phát sinh sự cố.
 * @param floor       Tầng cabin hiện tại (1..7).
 * @param temp_deci_c Nhiệt độ đo được (đơn vị 0.1 độ C).
 * @return 0 nếu ghi thành công, -ENODEV nếu không tìm thấy EEPROM.
 */
int bsp_blackbox_append(blackbox_fault_code_t code, elevator_state_t state,
                        uint8_t floor, int32_t temp_deci_c);

/**
 * @brief Đọc danh sách bản ghi hộp đen hợp lệ gần nhất (xếp từ mới nhất đến cũ
 * nhất).
 * @param[out] recs      Mảng nhận các bản ghi đã kiểm tra đúng CRC16.
 * @param      max_recs  Số lượng phần tử tối đa mảng @p recs chứa được.
 * @param[out] out_count Số lượng bản ghi thực tế đọc được.
 * @return 0 nếu thành công, mã lỗi âm errno nếu lỗi bus I2C/EEPROM.
 */
int bsp_blackbox_read(elevator_blackbox_rec_t *recs, size_t max_recs,
                      size_t *out_count);

/** @brief Xóa trắng header hàng đợi vòng của hộp đen trên EEPROM AT24C512. */
int bsp_blackbox_clear(void);

#endif /* BSP_I2C_STORAGE_H_ */
```

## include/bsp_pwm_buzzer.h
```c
/**
 * @file bsp_pwm_buzzer.h
 * @brief Trình điều khiển còi PWM không chặn trên chân PF8 (TIM13_CH1) cho kit BKIT ARM4.
 */

#ifndef BSP_PWM_BUZZER_H_
#define BSP_PWM_BUZZER_H_

#include <stdint.h>

/** @brief Tập các âm báo chuẩn cho từng tình huống vận hành của thang máy. */
typedef enum {
	BUZZER_TONE_BOOT = 0,
	BUZZER_TONE_FLOOR_ARRIVE,
	BUZZER_TONE_DOOR_OBSTRUCT,
	BUZZER_TONE_OVERLOAD,
	BUZZER_TONE_ALARM_SIREN
} bsp_buzzer_tone_t;

/**
 * @brief Khởi tạo ngoại vi PWM PF8 (TIM13_CH1), tắt tiếng ban đầu và phát âm khởi động.
 * @return 0 nếu thành công, -ENODEV nếu kênh PWM chưa sẵn sàng.
 */
int bsp_pwm_buzzer_init(void);

/**
 * @brief Kích phát một xung âm tần số xác định không gây nghẽn luồng (bảo vệ bằng k_mutex).
 * @param freq_hz     Tần số âm thanh tính bằng Hz (thường từ 800..4000 Hz).
 * @param duration_ms Thời gian duy trì phát âm (ms) trước khi tự tắt.
 */
void bsp_pwm_buzzer_beep(uint32_t freq_hz, uint32_t duration_ms);

/** @brief Tra bảng âm mẫu trong Flash (table-driven) và phát âm báo theo sự kiện. */
void bsp_pwm_buzzer_play_tone(bsp_buzzer_tone_t tone);

/** @brief Ngắt tín hiệu xuất xung ra còi PWM ngay lập tức. */
void bsp_pwm_buzzer_mute(void);

/**
 * @brief Kiểm tra hết hạn thời gian phát âm để tự tắt còi; gọi định kỳ (~10 ms) từ luồng HMI.
 */
void bsp_pwm_buzzer_tick(void);

#endif /* BSP_PWM_BUZZER_H_ */
```

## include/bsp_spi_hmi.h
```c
/**
 * @file bsp_spi_hmi.h
 * @brief Trình điều khiển bus SPI1 dùng chung (LED 7 đoạn + Bàn phím) & thăm dò Flash SPI2.
 *
 * Cơ chế chia sẻ bus & Kế thừa độ ưu tiên:
 *  - Bus SPI1 (PB3/PB4/PB5) phục vụ chung cho LED 7 đoạn 4 số (74HC595 chốt bằng PG6 LD_LATCH)
 *    và ma trận phím 4x4 (nạp song song bằng PD3 BTN_LOAD). Mọi giao dịch SPI1 đều khóa bằng
 *    @c g_spi1_bus_mutex để chống xung đột và đảo ngược ưu tiên.
 *  - Bus SPI2 (PB12..PB15) giao tiếp với chip nhớ Flash ngoài W25Q64FV trên bo mạch.
 */

#ifndef BSP_SPI_HMI_H_
#define BSP_SPI_HMI_H_

#include <stdint.h>
#include "elevator_types.h"

/**
 * @brief Khởi tạo các chân điều khiển chốt/nạp (PG6, PD3) của SPI1 và chân CS (PB12) của SPI2.
 * @return 0 nếu thành công, mã lỗi âm errno nếu GPIO điều khiển chưa sẵn sàng.
 */
int bsp_spi_hmi_init(void);

/**
 * @brief Đẩy dữ liệu mã 7 đoạn vào bộ đệm khung (framebuffer) của bộ quét ghép 500 Hz trên SPI1.
 * @param digits Mảng 4 byte mã segment Anode chung (0 = sáng, 1 = tắt) cho các ô LED 0..3.
 * @return 0 nếu cập nhật thành công, mã lỗi âm errno nếu lỗi tham số/thiết bị.
 */
int bsp_spi_7seg_write_raw(const uint8_t digits[4]);

/**
 * @brief Giữ mẫu kiểm thử cố định trên 4 LED 7 đoạn trong @p hold_ms mili-giây (phục vụ `bkit test spi1`).
 */
void bsp_spi_7seg_hold_test_pattern(const uint8_t digits[4], uint32_t hold_ms);

/**
 * @brief Hiển thị tầng hiện tại, trạng thái cửa ('OP'/'CL'/'Ob'), quá tải, hướng di chuyển và mã lỗi ('FE'/'Err') lên 4 LED 7 đoạn.
 * @param floor      Tầng hiện tại của thang máy (1..7).
 * @param dir        Hướng chạy (LÊN / XUỐNG / DỪNG).
 * @param door_pos   Trạng thái cửa hiện tại (CLOSED / OPENING / OPEN / CLOSING).
 * @param obstruct   true nếu đang kích hoạt cảnh báo chống kẹt cửa ('Ob-N').
 * @param overload   true nếu buồng thang đang quá tải >= 800 kg (nhấp nháy 'FULL').
 * @param fire       true nếu đang kích hoạt sơ tán hỏa hoạn ('FE').
 * @param fault      true nếu đang dừng khẩn cấp E-Stop hoặc lỗi mất CAN ('Err').
 * @return 0 nếu hiển thị thành công.
 */
int bsp_spi_7seg_render_status(uint8_t floor, elevator_dir_t dir, door_pos_t door_pos,
			       bool obstruct, bool overload, bool fire, bool fault);

/**
 * @brief Kéo chốt PD3 (BTN_LOAD) và dịch đọc 16 bit trạng thái ma trận phím 4x4 qua SPI1.
 * @param[out] key_idx   Chỉ số phím đang nhấn nhỏ nhất (0..15), hoặc -1 nếu không có phím nhấn.
 * @param[out] raw_bytes Bộ đệm 2 byte dữ liệu thô đọc về phục vụ gỡ lỗi (có thể NULL).
 * @return 0 nếu quét thành công.
 */
int bsp_spi_keypad_scan(int *key_idx, uint8_t raw_bytes[2]);

/**
 * @brief Đọc mã định danh JEDEC ID (lệnh 0x9F) từ chip nhớ Flash W25Q64FV trên bus SPI2.
 * @param[out] id_out Mảng 3 byte nhận kết quả (kỳ vọng trên BKIT ARM4: 0xEF 0x40 0x17).
 * @return 0 nếu thành công, -ENODEV nếu bus SPI2 hoặc chân CS chưa sẵn sàng.
 */
int bsp_spi2_probe_jedec(uint8_t id_out[3]);

#endif /* BSP_SPI_HMI_H_ */
```

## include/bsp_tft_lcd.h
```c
/**
 * @file bsp_tft_lcd.h
 * @brief Trình điều khiển Màn hình màu Đồ họa TFT-LCD 240x320 (ILI9341 - FSMC 16-bit)
 *        Hệ thống Thang máy Thông minh BKIT ARM4 (STM32F407ZGT6).
 *
 * Chức năng tổng quát của file:
 *  - Khởi tạo phần cứng bus song song FSMC 16-bit (Bank 1 NE1, A19-RS, PD/PE data pins).
 *  - Cung cấp các hàm vẽ đồ họa nguyên thủy (Pixel, FillRect, DrawRect, String, BigDigit, ProgressBar).
 *  - Render giao diện HMI trực quan cho 7 trạng thái thang máy:
 *      1. Đang di chuyển (Moving UP / DOWN với hiệu ứng cuộn số mượt).
 *      2. Dừng mở cửa đón khách (Door Open 100% tại tầng).
 *      3. Cảnh báo quá tải trọng lượng (Overload > 800 kg từ biến trở VR1).
 *      4. Cảnh báo kẹt cửa / vật cản rèm quang (Obstacle từ quang trở LDR).
 *      5. Báo cháy khẩn cấp & sơ tán về Tầng 1 (Fire Alarm từ nhiệt độ LM35 >= 60 C).
 *      6. Dừng khẩn cấp do người dùng (Emergency Stop qua phím E-Stop).
 *      7. Chế độ Chờ / Nghỉ tiết kiệm điện (Standby / Night Mode).
 *
 * Các hàm quan trọng nhất trong file:
 *  - `bsp_tft_lcd_init()`                 : Khởi tạo GPIO, thanh ghi FSMC và chip ILI9341.
 *  - `bsp_tft_lcd_clear()`                : Xóa trắng/đen toàn bộ màn hình.
 *  - `bsp_tft_lcd_draw_string()`          : Vẽ chuỗi văn bản font ASCII 6x8.
 *  - `bsp_tft_lcd_draw_big_digit()`       : Vẽ số tầng lớn kích thước 24x32 pixel.
 *  - `bsp_tft_lcd_draw_progress_bar()`    : Vẽ thanh tiến trình trạng thái đóng mở cửa/tải trọng.
 *  - `bsp_tft_lcd_render_dashboard()`     : Cập nhật giao diện tổng quan HMI 4 khối và các popup khẩn cấp.
 *  - `bsp_tft_lcd_animate_floor_rolling()`: Hiệu ứng hoạt họa cuộn số tầng dọc khi di chuyển.
 *
 * SPDX-License-Identifier: Apache-2.0
 */

#ifndef BSP_TFT_LCD_H_
#define BSP_TFT_LCD_H_

#include <stdint.h>
#include <stdbool.h>
#include "elevator_types.h"

#ifdef __cplusplus
extern "C" {
#endif

/* Kích thước màn hình TFT-LCD */
#define LCD_WIDTH           240
#define LCD_HEIGHT          320

/* Bảng màu RGB565 chuẩn ILI9341 */
#define LCD_COLOR_BLACK     0x0000U
#define LCD_COLOR_WHITE     0xFFFFU
#define LCD_COLOR_NAVY      0x0810U /* Nền xanh đen Dark Navy */
#define LCD_COLOR_GRAY      0x52AAU /* Xám trung bình */
#define LCD_COLOR_DARK_GRAY 0x2104U /* Xám tối làm khung */
#define LCD_COLOR_LIGHT_GRAY 0xCE79U
#define LCD_COLOR_YELLOW    0xFFE0U /* Số tầng, nút gọi */
#define LCD_COLOR_GREEN     0x07E0U /* Trạng thái an toàn, chạy UP */
#define LCD_COLOR_CYAN      0x07FFU /* Thanh cửa mở */
#define LCD_COLOR_ORANGE    0xFD20U /* Chạy DOWN, cảnh báo mức nhẹ */
#define LCD_COLOR_RED       0xF800U /* Báo cháy, quá tải, E-Stop */

/**
 * @brief Khởi tạo phần cứng GPIO, FSMC 16-bit và gửi chuỗi lệnh khởi động cho chip ILI9341.
 * @return 0 nếu thành công, mã lỗi âm nếu thất bại.
 */
int bsp_tft_lcd_init(void);

/**
 * @brief Kiểm tra xem màn hình TFT-LCD đã được khởi tạo thành công chưa.
 */
bool bsp_tft_lcd_is_ready(void);

/**
 * @brief Điều khiển độ sáng đèn nền màn hình (chân PA8 qua GPIO hoặc PWM).
 * @param brightness_pct Độ sáng từ 0% (tắt) đến 100% (sáng tối đa).
 */
void bsp_tft_lcd_set_backlight(uint8_t brightness_pct);

/**
 * @brief Xóa toàn bộ màn hình bằng một màu đơn sắc và đánh dấu vẽ lại toàn bộ khung nền.
 */
void bsp_tft_lcd_clear(uint16_t color);

/**
 * @brief Đánh dấu làm mới lại toàn bộ bố cục Dashboard ở khung hình kế tiếp (dùng sau `bkit test lcd`).
 */
void bsp_tft_lcd_invalidate(void);

/**
 * @brief Chạy bài kiểm tra dải màu RGB565 an toàn đa luồng và giữ hiển thị trong @p hold_ms mili-giây,
 *        sau đó tự động khôi phục lại toàn bộ Dashboard thang máy không để lại vệt màu cũ.
 */
int bsp_tft_lcd_run_self_test(uint32_t hold_ms);

/* --- Các hàm vẽ nguyên thủy (Graphics Primitives) --- */
void bsp_tft_lcd_draw_pixel(int x, int y, uint16_t color);
void bsp_tft_lcd_fill_rect(int x, int y, int w, int h, uint16_t color);
void bsp_tft_lcd_draw_rect(int x, int y, int w, int h, uint16_t color);
void bsp_tft_lcd_draw_char(int x, int y, char c, uint16_t color, uint16_t bg_color);
void bsp_tft_lcd_draw_string(int x, int y, const char *str, uint16_t color, uint16_t bg_color);
void bsp_tft_lcd_draw_big_digit(int x, int y, char digit, uint16_t color, uint16_t bg_color);
void bsp_tft_lcd_draw_progress_bar(int x, int y, int w, int h, int pct, uint16_t bar_color, uint16_t bg_color);

/**
 * @brief Render toàn bộ Dashboard HMI theo trạng thái thời gian thực của thang máy.
 *
 * @param tel              Con trỏ gói Telemetry chứa trạng thái FSM, tầng, hướng, cờ lỗi.
 * @param call_mask        Mask 7 bit các tầng đang được gọi (bit 0 = Tầng 1 .. bit 6 = Tầng 7).
 * @param door_pct         Phần trăm mở cửa buồng thang (0% = đóng kín, 100% = mở toang).
 * @param load_kg          Tải trọng cabin đo được từ biến trở VR1 (kg).
 * @param temp_c           Nhiệt độ giếng thang đo được từ LM35 (độ C).
 * @param curtain_blocked  true nếu rèm quang LDR bị che phát hiện vật cản.
 * @param last_log_msg     Chuỗi nhật ký sự kiện ghi vào EEPROM hộp đen.
 */
void bsp_tft_lcd_render_dashboard(const elevator_telemetry_t *tel,
                                  uint8_t call_mask,
                                  uint8_t door_pct,
                                  float load_kg,
                                  float temp_c,
                                  bool curtain_blocked,
                                  const char *last_log_msg);

/**
 * @brief Kích hoạt hiệu ứng cuộn số mượt khi thang di chuyển qua các tầng.
 * @param old_floor Tầng trước đó (1..7).
 * @param new_floor Tầng mới (1..7).
 * @param dir       Hướng di chuyển (ELEV_DIR_UP hoặc ELEV_DIR_DOWN).
 */
void bsp_tft_lcd_animate_floor_rolling(uint8_t old_floor, uint8_t new_floor, elevator_dir_t dir);

#ifdef __cplusplus
}
#endif

#endif /* BSP_TFT_LCD_H_ */
```

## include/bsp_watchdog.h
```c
/**
 * @file bsp_watchdog.h
 * @brief Trình điều khiển Watchdog phần cứng (IWDG) giám sát độ sống đa luồng & đọc HWINFO.
 *
 * Thay vì nạp IWDG một cách mù quáng ở một tác vụ đơn lẻ, mỗi luồng RTOS trọng yếu đều phải
 * điểm danh qua @ref bsp_wdt_checkin(). Hàm @ref bsp_wdt_service() chỉ cho phép reset bộ đếm
 * IWDG khi toàn bộ các luồng giám sát còn phản hồi trong ngưỡng thời gian quy định.
 */

#ifndef BSP_WATCHDOG_H_
#define BSP_WATCHDOG_H_

#include <stdbool.h>
#include <stdint.h>
#include "elevator_types.h"

/**
 * @brief Đọc nguyên nhân reset trước đó qua HWINFO, xóa cờ phần cứng và kích hoạt IWDG.
 * @return 0 nếu kích hoạt thành công (hoặc -ENODEV nếu phần cứng IWDG không sẵn sàng).
 */
int bsp_watchdog_init(void);

/**
 * @brief Ghi nhận dấu thời gian sống (checkin timestamp) từ từng luồng RTOS được giám sát.
 * @param id Định danh khe giám sát của luồng (@c WDT_MON_SAFETY .. @c WDT_MON_HMI).
 */
void bsp_wdt_checkin(wdt_mon_id_t id);

/**
 * @brief Kiểm tra mọi luồng giám sát đều còn hoạt động trong ngưỡng cho phép rồi mới nạp IWDG.
 * @param force_freeze Khi bằng true (chế độ test HIL), cố tình ngừng nạp IWDG để kiểm chứng tự reset MCU.
 * @return true nếu đã nạp IWDG hợp lệ, false nếu đang đóng băng test hoặc phát hiện có luồng bị treo.
 */
bool bsp_wdt_service(bool force_freeze);

/** @brief Trả về true nếu lần khởi động trước đó của MCU là do hết hạn Hardware Watchdog. */
bool bsp_wdt_was_reset_cause(void);

/**
 * @brief Lấy mặt nạ nguyên nhân reset đã lưu lúc khởi động và chuỗi UID 96-bit của STM32.
 * @param[out] cause   Mặt nạ bit cờ @c RESET_* trả về từ @c hwinfo_get_reset_cause().
 * @param[out] uid     Bộ đệm 12 byte chứa số định danh duy nhất của vi điều khiển.
 * @param[out] uid_len Số byte UID hợp lệ đã sao chép vào bộ đệm.
 */
void bsp_wdt_get_hwinfo(uint32_t *cause, uint8_t uid[12], int *uid_len);

/** @brief Quy đổi mã định danh khe giám sát watchdog sang tên luồng dễ đọc. */
const char *bsp_wdt_slot_name(wdt_mon_id_t id);

#endif /* BSP_WATCHDOG_H_ */
```

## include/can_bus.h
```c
/**
 * @file can_bus.h
 * @brief Trình quản lý mạng CAN1 (PB8/PB9, 500 kbps) hỗ trợ chạy Loopback 1 Kit hoặc mạng 2 Kit.
 */

#ifndef CAN_BUS_H_
#define CAN_BUS_H_

#include <stdbool.h>
#include <stdint.h>
#include "elevator_types.h"

/* Cấp phát CAN ID chuẩn 11-bit (ID càng nhỏ thì độ ưu tiên phân xử bus càng cao) */
#define CAN_ID_EMERGENCY_STOP   0x080U
#define CAN_ID_HALL_CALL        0x100U
#define CAN_ID_CABIN_STATUS     0x200U
#define CAN_ID_HEARTBEAT        0x300U
#define CAN_ID_HIL_PING         0x380U
#define CAN_ID_HIL_PONG         0x381U

/**
 * @brief Cấu hình CAN1 tốc độ 500 kbps, gắn 3 bộ lọc phần cứng theo đúng trình tự driver và bật bus.
 * @param mode CAN_LINK_MODE_LOOPBACK (tự kiểm 1 kit) hoặc CAN_LINK_MODE_NORMAL (mạng 2 kit).
 * @param role NODE_ROLE_CABIN (kit điều khiển chính) hoặc NODE_ROLE_HALL (kit bảng gọi tầng).
 * @return 0 nếu thành công, mã lỗi âm errno nếu bộ điều khiển CAN chưa sẵn sàng.
 */
int can_bus_init(can_link_mode_t mode, node_role_t role);

/** @brief Chuyển đổi qua lại giữa chế độ LOOPBACK và NORMAL trong lúc hệ thống đang chạy. */
int can_bus_set_mode(can_link_mode_t mode);

/** @brief Lấy chế độ hoạt động hiện tại của bộ điều khiển CAN1. */
can_link_mode_t can_bus_get_mode(void);

/** @brief Chuyển đổi vai trò nút phân tán giữa CABIN (Kit 1) và HALL (Kit 2). */
void can_bus_set_role(node_role_t role);

/** @brief Lấy vai trò nút phân tán hiện tại của bo mạch. */
node_role_t can_bus_get_role(void);

/** @brief Phát gói trạng thái cabin (0x200, nếu là CABIN) và gói Heartbeat Big-Endian (0x300). */
int can_bus_send_status(const elevator_telemetry_t *tel);

/** @brief Gửi lệnh gọi tầng hành lang (0x100) từ nút HALL sang nút CABIN qua bus CAN. */
int can_bus_send_hall_call(uint8_t floor, bool going_up);

/** @brief Phát khung cảnh báo khẩn cấp / báo cháy mức ưu tiên cao nhất (0x080). */
int can_bus_send_emergency(uint8_t reason_code, uint8_t floor);

/** @brief Gửi khung HIL PING (0x380) đóng gói Big-Endian để đo thời gian vòng RTT. */
int can_bus_send_ping(uint32_t seq);

/** @brief Gửi khung truy vấn từ xa CAN RTR hỏi trạng thái Cabin trên ID 0x200. */
int can_bus_request_cabin_rtr(void);

/**
 * @brief Bước nhận khung CAN chặn vô thời hạn (`k_msgq_get(..., K_FOREVER)`): phân loại RTR/Data
 *        và cấp token cho semaphore giám sát đối tác `g_can_partner_sem`.
 */
void can_bus_rx_step(void);

/**
 * @brief Chờ semaphore nhịp 250 ms từ `k_timer` ISR, phát gói status/HB và kiểm tra phục hồi BUS-OFF.
 * @param tel Ảnh chụp trạng thái cabin mới nhất dùng để đóng gói truyền đi.
 */
void can_bus_tx_and_recover_step(const elevator_telemetry_t *tel);

/**
 * @brief Tác vụ giám sát kết nối nút đối tác CAN: chặn tối đa 2000 ms trên `k_sem_take`,
 *        lập tức kích hoạt Fail-Safe (`EV_CAN_LINK_LOST`) khi gặp timeout `-EAGAIN`.
 */
void can_bus_partner_watchdog_step(void);

/** @brief Lấy thông số chẩn đoán phần cứng CAN (trạng thái, TEC/REC, tổng TX/RX và RTT micro-giây). */
void can_bus_get_diag(uint8_t *state, uint8_t *tec, uint8_t *rec,
		      uint32_t *rx_ok, uint32_t *tx_ok, uint32_t *last_rtt_us);

/** @brief Đọc bộ đếm nguyên tử callback TX không NULL (cbOK/cbErr) và số khung RTR đã nhận. */
void can_bus_get_ext_stats(uint32_t *tx_cb_ok, uint32_t *tx_cb_err, uint32_t *rtr_rx);

/**
 * @brief Đọc thông tin trạng thái cabin từ xa được phản chiếu trên kit chạy vai trò NODE_ROLE_HALL.
 * @return true nếu có dữ liệu hợp lệ mới nhận từ nút CABIN, false nếu chưa có hoặc sai vai trò.
 */
bool can_bus_get_remote_cabin_view(uint8_t *floor, elevator_dir_t *dir,
				   bool *fire, bool *fault);

/** @brief Bật hoặc tắt chế độ giả lập đứt dây CAN (gọi `k_sem_reset`) phục vụ kiểm thử Fail-Safe HIL. */
void can_bus_set_hil_drop(bool drop);

#endif /* CAN_BUS_H_ */
```

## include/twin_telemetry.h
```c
/**
 * @file twin_telemetry.h
 * @brief Bộ đóng gói dữ liệu telemetry dạng JSON ($TWIN) gửi PC Digital Twin & HIL Logger.
 */

#ifndef TWIN_TELEMETRY_H_
#define TWIN_TELEMETRY_H_

#include <stdbool.h>

/** @brief Bật hoặc tắt luồng xuất bản tin JSON $TWIN định kỳ qua cổng USART1. */
void twin_telemetry_set_enabled(bool en);

/** @brief Truy vấn trạng thái bật/tắt hiện tại của luồng dữ liệu Digital Twin. */
bool twin_telemetry_is_enabled(void);

/**
 * @brief Gom ảnh chụp trạng thái từ HSM, ADC1 và CAN1 để xuất ngay 1 dòng JSON $TWIN.
 */
void twin_telemetry_emit_now(void);

#endif /* TWIN_TELEMETRY_H_ */
```
